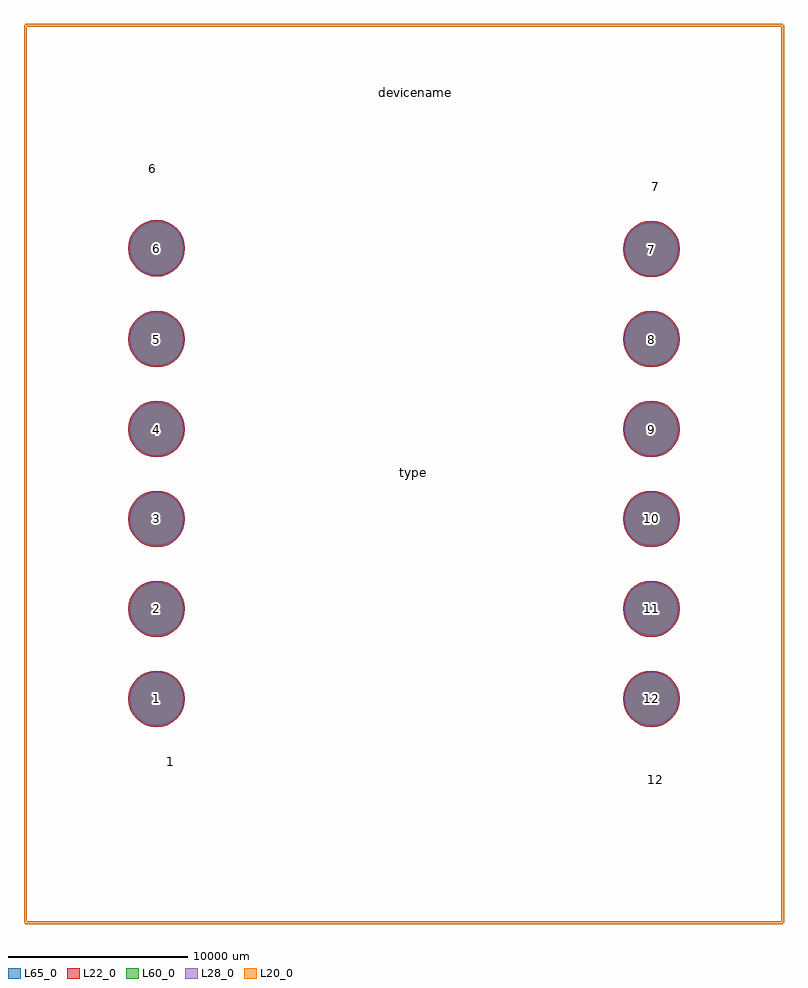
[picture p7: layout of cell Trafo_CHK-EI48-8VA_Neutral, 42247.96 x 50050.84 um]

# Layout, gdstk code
import gdstk
lib = gdstk.Library(unit=1e-6, precision=1e-09)
def P(c, l, *ps):  # polygons
    for p in ps: c.add(gdstk.Polygon(p, *l))
L20_0 = (20, 0)
L22_0 = (22, 0)
L28_0 = (28, 0)
L60_0 = (60, 0)
L65_0 = (65, 0)

trafo_chk_ei48_8va_neutr = lib.new_cell('Trafo_CHK-EI48-8VA_Neutral')
P(trafo_chk_ei48_8va_neutr, L22_0, [(15323.89,7500.62),(15293.629,7807.862),(15204.01,8103.297),(15058.477,8375.571),(14862.621,8614.221),(14623.971,8810.077),(14351.697,8955.61),(14056.262,9045.229),(13749.02,9075.49),(13441.778,9045.229),(13146.343,8955.61),(12874.069,8810.077),(12635.419,8614.221),(12439.563,8375.571),(12294.03,8103.297),(12204.411,7807.862),(12174.15,7500.62),(12204.411,7193.378),(12294.03,6897.943),(12439.563,6625.669),(12635.419,6387.019),(12874.069,6191.163),(13146.343,6045.63),(13441.778,5956.011),(13749.02,5925.75),(14056.262,5956.011),(14351.697,6045.63),(14623.971,6191.163),(14862.621,6387.019),(15058.477,6625.669),(15204.01,6897.943),(15293.629,7193.378)],
  [(15323.89,2499.36),(15293.629,2806.602),(15204.01,3102.037),(15058.477,3374.311),(14862.621,3612.961),(14623.971,3808.817),(14351.697,3954.35),(14056.262,4043.969),(13749.02,4074.23),(13441.778,4043.969),(13146.343,3954.35),(12874.069,3808.817),(12635.419,3612.961),(12439.563,3374.311),(12294.03,3102.037),(12204.411,2806.602),(12174.15,2499.36),(12204.411,2192.118),(12294.03,1896.683),(12439.563,1624.409),(12635.419,1385.759),(12874.069,1189.903),(13146.343,1044.37),(13441.778,954.751),(13749.02,924.49),(14056.262,954.751),(14351.697,1044.37),(14623.971,1189.903),(14862.621,1385.759),(15058.477,1624.409),(15204.01,1896.683),(15293.629,2192.118)],
  [(15323.89,-2499.36),(15293.629,-2192.118),(15204.01,-1896.683),(15058.477,-1624.409),(14862.621,-1385.759),(14623.971,-1189.903),(14351.697,-1044.37),(14056.262,-954.751),(13749.02,-924.49),(13441.778,-954.751),(13146.343,-1044.37),(12874.069,-1189.903),(12635.419,-1385.759),(12439.563,-1624.409),(12294.03,-1896.683),(12204.411,-2192.118),(12174.15,-2499.36),(12204.411,-2806.602),(12294.03,-3102.037),(12439.563,-3374.311),(12635.419,-3612.961),(12874.069,-3808.817),(13146.343,-3954.35),(13441.778,-4043.969),(13749.02,-4074.23),(14056.262,-4043.969),(14351.697,-3954.35),(14623.971,-3808.817),(14862.621,-3612.961),(15058.477,-3374.311),(15204.01,-3102.037),(15293.629,-2806.602)],
  [(15323.89,-7500.62),(15293.629,-7193.378),(15204.01,-6897.943),(15058.477,-6625.669),(14862.621,-6387.019),(14623.971,-6191.163),(14351.697,-6045.63),(14056.262,-5956.011),(13749.02,-5925.75),(13441.778,-5956.011),(13146.343,-6045.63),(12874.069,-6191.163),(12635.419,-6387.019),(12439.563,-6625.669),(12294.03,-6897.943),(12204.411,-7193.378),(12174.15,-7500.62),(12204.411,-7807.862),(12294.03,-8103.297),(12439.563,-8375.571),(12635.419,-8614.221),(12874.069,-8810.077),(13146.343,-8955.61),(13441.778,-9045.229),(13749.02,-9075.49),(14056.262,-9045.229),(14351.697,-8955.61),(14623.971,-8810.077),(14862.621,-8614.221),(15058.477,-8375.571),(15204.01,-8103.297),(15293.629,-7807.862)],
  [(-12174.15,7500.62),(-12204.411,7807.862),(-12294.03,8103.297),(-12439.563,8375.571),(-12635.419,8614.221),(-12874.069,8810.077),(-13146.343,8955.61),(-13441.778,9045.229),(-13749.02,9075.49),(-14056.262,9045.229),(-14351.697,8955.61),(-14623.971,8810.077),(-14862.621,8614.221),(-15058.477,8375.571),(-15204.01,8103.297),(-15293.629,7807.862),(-15323.89,7500.62),(-15293.629,7193.378),(-15204.01,6897.943),(-15058.477,6625.669),(-14862.621,6387.019),(-14623.971,6191.163),(-14351.697,6045.63),(-14056.262,5956.011),(-13749.02,5925.75),(-13441.778,5956.011),(-13146.343,6045.63),(-12874.069,6191.163),(-12635.419,6387.019),(-12439.563,6625.669),(-12294.03,6897.943),(-12204.411,7193.378)],
  [(-12174.15,2499.36),(-12204.411,2806.602),(-12294.03,3102.037),(-12439.563,3374.311),(-12635.419,3612.961),(-12874.069,3808.817),(-13146.343,3954.35),(-13441.778,4043.969),(-13749.02,4074.23),(-14056.262,4043.969),(-14351.697,3954.35),(-14623.971,3808.817),(-14862.621,3612.961),(-15058.477,3374.311),(-15204.01,3102.037),(-15293.629,2806.602),(-15323.89,2499.36),(-15293.629,2192.118),(-15204.01,1896.683),(-15058.477,1624.409),(-14862.621,1385.759),(-14623.971,1189.903),(-14351.697,1044.37),(-14056.262,954.751),(-13749.02,924.49),(-13441.778,954.751),(-13146.343,1044.37),(-12874.069,1189.903),(-12635.419,1385.759),(-12439.563,1624.409),(-12294.03,1896.683),(-12204.411,2192.118)],
  [(-12174.15,-2499.36),(-12204.411,-2192.118),(-12294.03,-1896.683),(-12439.563,-1624.409),(-12635.419,-1385.759),(-12874.069,-1189.903),(-13146.343,-1044.37),(-13441.778,-954.751),(-13749.02,-924.49),(-14056.262,-954.751),(-14351.697,-1044.37),(-14623.971,-1189.903),(-14862.621,-1385.759),(-15058.477,-1624.409),(-15204.01,-1896.683),(-15293.629,-2192.118),(-15323.89,-2499.36),(-15293.629,-2806.602),(-15204.01,-3102.037),(-15058.477,-3374.311),(-14862.621,-3612.961),(-14623.971,-3808.817),(-14351.697,-3954.35),(-14056.262,-4043.969),(-13749.02,-4074.23),(-13441.778,-4043.969),(-13146.343,-3954.35),(-12874.069,-3808.817),(-12635.419,-3612.961),(-12439.563,-3374.311),(-12294.03,-3102.037),(-12204.411,-2806.602)],
  [(-12174.15,-7500.62),(-12204.411,-7193.378),(-12294.03,-6897.943),(-12439.563,-6625.669),(-12635.419,-6387.019),(-12874.069,-6191.163),(-13146.343,-6045.63),(-13441.778,-5956.011),(-13749.02,-5925.75),(-14056.262,-5956.011),(-14351.697,-6045.63),(-14623.971,-6191.163),(-14862.621,-6387.019),(-15058.477,-6625.669),(-15204.01,-6897.943),(-15293.629,-7193.378),(-15323.89,-7500.62),(-15293.629,-7807.862),(-15204.01,-8103.297),(-15058.477,-8375.571),(-14862.621,-8614.221),(-14623.971,-8810.077),(-14351.697,-8955.61),(-14056.262,-9045.229),(-13749.02,-9075.49),(-13441.778,-9045.229),(-13146.343,-8955.61),(-12874.069,-8810.077),(-12635.419,-8614.221),(-12439.563,-8375.571),(-12294.03,-8103.297),(-12204.411,-7807.862)],
  [(15323.89,-12499.34),(15293.629,-12192.098),(15204.01,-11896.663),(15058.477,-11624.389),(14862.621,-11385.739),(14623.971,-11189.883),(14351.697,-11044.35),(14056.262,-10954.731),(13749.02,-10924.47),(13441.778,-10954.731),(13146.343,-11044.35),(12874.069,-11189.883),(12635.419,-11385.739),(12439.563,-11624.389),(12294.03,-11896.663),(12204.411,-12192.098),(12174.15,-12499.34),(12204.411,-12806.582),(12294.03,-13102.017),(12439.563,-13374.291),(12635.419,-13612.941),(12874.069,-13808.797),(13146.343,-13954.33),(13441.778,-14043.949),(13749.02,-14074.21),(14056.262,-14043.949),(14351.697,-13954.33),(14623.971,-13808.797),(14862.621,-13612.941),(15058.477,-13374.291),(15204.01,-13102.017),(15293.629,-12806.582)],
  [(15323.89,12499.34),(15293.629,12806.582),(15204.01,13102.017),(15058.477,13374.291),(14862.621,13612.941),(14623.971,13808.797),(14351.697,13954.33),(14056.262,14043.949),(13749.02,14074.21),(13441.778,14043.949),(13146.343,13954.33),(12874.069,13808.797),(12635.419,13612.941),(12439.563,13374.291),(12294.03,13102.017),(12204.411,12806.582),(12174.15,12499.34),(12204.411,12192.098),(12294.03,11896.663),(12439.563,11624.389),(12635.419,11385.739),(12874.069,11189.883),(13146.343,11044.35),(13441.778,10954.731),(13749.02,10924.47),(14056.262,10954.731),(14351.697,11044.35),(14623.971,11189.883),(14862.621,11385.739),(15058.477,11624.389),(15204.01,11896.663),(15293.629,12192.098)],
  [(-12174.15,12550.14),(-12204.411,12857.382),(-12294.03,13152.817),(-12439.563,13425.091),(-12635.419,13663.741),(-12874.069,13859.597),(-13146.343,14005.13),(-13441.778,14094.749),(-13749.02,14125.01),(-14056.262,14094.749),(-14351.697,14005.13),(-14623.971,13859.597),(-14862.621,13663.741),(-15058.477,13425.091),(-15204.01,13152.817),(-15293.629,12857.382),(-15323.89,12550.14),(-15293.629,12242.898),(-15204.01,11947.463),(-15058.477,11675.189),(-14862.621,11436.539),(-14623.971,11240.683),(-14351.697,11095.15),(-14056.262,11005.531),(-13749.02,10975.27),(-13441.778,11005.531),(-13146.343,11095.15),(-12874.069,11240.683),(-12635.419,11436.539),(-12439.563,11675.189),(-12294.03,11947.463),(-12204.411,12242.898)],
  [(-12174.15,-12499.34),(-12204.411,-12192.098),(-12294.03,-11896.663),(-12439.563,-11624.389),(-12635.419,-11385.739),(-12874.069,-11189.883),(-13146.343,-11044.35),(-13441.778,-10954.731),(-13749.02,-10924.47),(-14056.262,-10954.731),(-14351.697,-11044.35),(-14623.971,-11189.883),(-14862.621,-11385.739),(-15058.477,-11624.389),(-15204.01,-11896.663),(-15293.629,-12192.098),(-15323.89,-12499.34),(-15293.629,-12806.582),(-15204.01,-13102.017),(-15058.477,-13374.291),(-14862.621,-13612.941),(-14623.971,-13808.797),(-14351.697,-13954.33),(-14056.262,-14043.949),(-13749.02,-14074.21),(-13441.778,-14043.949),(-13146.343,-13954.33),(-12874.069,-13808.797),(-12635.419,-13612.941),(-12439.563,-13374.291),(-12294.03,-13102.017),(-12204.411,-12806.582)])
P(trafo_chk_ei48_8va_neutr, L28_0, [(15248.89,7500.62),(15220.07,7793.23),(15134.719,8074.595),(14996.116,8333.903),(14809.588,8561.188),(14582.303,8747.716),(14322.995,8886.319),(14041.63,8971.67),(13749.02,9000.49),(13456.41,8971.67),(13175.045,8886.319),(12915.737,8747.716),(12688.452,8561.188),(12501.924,8333.903),(12363.321,8074.595),(12277.97,7793.23),(12249.15,7500.62),(12277.97,7208.01),(12363.321,6926.645),(12501.924,6667.337),(12688.452,6440.052),(12915.737,6253.524),(13175.045,6114.921),(13456.41,6029.57),(13749.02,6000.75),(14041.63,6029.57),(14322.995,6114.921),(14582.303,6253.524),(14809.588,6440.052),(14996.116,6667.337),(15134.719,6926.645),(15220.07,7208.01)],
  [(15248.89,2499.36),(15220.07,2791.97),(15134.719,3073.335),(14996.116,3332.643),(14809.588,3559.928),(14582.303,3746.456),(14322.995,3885.059),(14041.63,3970.41),(13749.02,3999.23),(13456.41,3970.41),(13175.045,3885.059),(12915.737,3746.456),(12688.452,3559.928),(12501.924,3332.643),(12363.321,3073.335),(12277.97,2791.97),(12249.15,2499.36),(12277.97,2206.75),(12363.321,1925.385),(12501.924,1666.077),(12688.452,1438.792),(12915.737,1252.264),(13175.045,1113.661),(13456.41,1028.31),(13749.02,999.49),(14041.63,1028.31),(14322.995,1113.661),(14582.303,1252.264),(14809.588,1438.792),(14996.116,1666.077),(15134.719,1925.385),(15220.07,2206.75)],
  [(15248.89,-2499.36),(15220.07,-2206.75),(15134.719,-1925.385),(14996.116,-1666.077),(14809.588,-1438.792),(14582.303,-1252.264),(14322.995,-1113.661),(14041.63,-1028.31),(13749.02,-999.49),(13456.41,-1028.31),(13175.045,-1113.661),(12915.737,-1252.264),(12688.452,-1438.792),(12501.924,-1666.077),(12363.321,-1925.385),(12277.97,-2206.75),(12249.15,-2499.36),(12277.97,-2791.97),(12363.321,-3073.335),(12501.924,-3332.643),(12688.452,-3559.928),(12915.737,-3746.456),(13175.045,-3885.059),(13456.41,-3970.41),(13749.02,-3999.23),(14041.63,-3970.41),(14322.995,-3885.059),(14582.303,-3746.456),(14809.588,-3559.928),(14996.116,-3332.643),(15134.719,-3073.335),(15220.07,-2791.97)],
  [(15248.89,-7500.62),(15220.07,-7208.01),(15134.719,-6926.645),(14996.116,-6667.337),(14809.588,-6440.052),(14582.303,-6253.524),(14322.995,-6114.921),(14041.63,-6029.57),(13749.02,-6000.75),(13456.41,-6029.57),(13175.045,-6114.921),(12915.737,-6253.524),(12688.452,-6440.052),(12501.924,-6667.337),(12363.321,-6926.645),(12277.97,-7208.01),(12249.15,-7500.62),(12277.97,-7793.23),(12363.321,-8074.595),(12501.924,-8333.903),(12688.452,-8561.188),(12915.737,-8747.716),(13175.045,-8886.319),(13456.41,-8971.67),(13749.02,-9000.49),(14041.63,-8971.67),(14322.995,-8886.319),(14582.303,-8747.716),(14809.588,-8561.188),(14996.116,-8333.903),(15134.719,-8074.595),(15220.07,-7793.23)],
  [(-12249.15,7500.62),(-12277.97,7793.23),(-12363.321,8074.595),(-12501.924,8333.903),(-12688.452,8561.188),(-12915.737,8747.716),(-13175.045,8886.319),(-13456.41,8971.67),(-13749.02,9000.49),(-14041.63,8971.67),(-14322.995,8886.319),(-14582.303,8747.716),(-14809.588,8561.188),(-14996.116,8333.903),(-15134.719,8074.595),(-15220.07,7793.23),(-15248.89,7500.62),(-15220.07,7208.01),(-15134.719,6926.645),(-14996.116,6667.337),(-14809.588,6440.052),(-14582.303,6253.524),(-14322.995,6114.921),(-14041.63,6029.57),(-13749.02,6000.75),(-13456.41,6029.57),(-13175.045,6114.921),(-12915.737,6253.524),(-12688.452,6440.052),(-12501.924,6667.337),(-12363.321,6926.645),(-12277.97,7208.01)],
  [(-12249.15,2499.36),(-12277.97,2791.97),(-12363.321,3073.335),(-12501.924,3332.643),(-12688.452,3559.928),(-12915.737,3746.456),(-13175.045,3885.059),(-13456.41,3970.41),(-13749.02,3999.23),(-14041.63,3970.41),(-14322.995,3885.059),(-14582.303,3746.456),(-14809.588,3559.928),(-14996.116,3332.643),(-15134.719,3073.335),(-15220.07,2791.97),(-15248.89,2499.36),(-15220.07,2206.75),(-15134.719,1925.385),(-14996.116,1666.077),(-14809.588,1438.792),(-14582.303,1252.264),(-14322.995,1113.661),(-14041.63,1028.31),(-13749.02,999.49),(-13456.41,1028.31),(-13175.045,1113.661),(-12915.737,1252.264),(-12688.452,1438.792),(-12501.924,1666.077),(-12363.321,1925.385),(-12277.97,2206.75)],
  [(-12249.15,-2499.36),(-12277.97,-2206.75),(-12363.321,-1925.385),(-12501.924,-1666.077),(-12688.452,-1438.792),(-12915.737,-1252.264),(-13175.045,-1113.661),(-13456.41,-1028.31),(-13749.02,-999.49),(-14041.63,-1028.31),(-14322.995,-1113.661),(-14582.303,-1252.264),(-14809.588,-1438.792),(-14996.116,-1666.077),(-15134.719,-1925.385),(-15220.07,-2206.75),(-15248.89,-2499.36),(-15220.07,-2791.97),(-15134.719,-3073.335),(-14996.116,-3332.643),(-14809.588,-3559.928),(-14582.303,-3746.456),(-14322.995,-3885.059),(-14041.63,-3970.41),(-13749.02,-3999.23),(-13456.41,-3970.41),(-13175.045,-3885.059),(-12915.737,-3746.456),(-12688.452,-3559.928),(-12501.924,-3332.643),(-12363.321,-3073.335),(-12277.97,-2791.97)],
  [(-12249.15,-7500.62),(-12277.97,-7208.01),(-12363.321,-6926.645),(-12501.924,-6667.337),(-12688.452,-6440.052),(-12915.737,-6253.524),(-13175.045,-6114.921),(-13456.41,-6029.57),(-13749.02,-6000.75),(-14041.63,-6029.57),(-14322.995,-6114.921),(-14582.303,-6253.524),(-14809.588,-6440.052),(-14996.116,-6667.337),(-15134.719,-6926.645),(-15220.07,-7208.01),(-15248.89,-7500.62),(-15220.07,-7793.23),(-15134.719,-8074.595),(-14996.116,-8333.903),(-14809.588,-8561.188),(-14582.303,-8747.716),(-14322.995,-8886.319),(-14041.63,-8971.67),(-13749.02,-9000.49),(-13456.41,-8971.67),(-13175.045,-8886.319),(-12915.737,-8747.716),(-12688.452,-8561.188),(-12501.924,-8333.903),(-12363.321,-8074.595),(-12277.97,-7793.23)],
  [(15248.89,-12499.34),(15220.07,-12206.73),(15134.719,-11925.365),(14996.116,-11666.057),(14809.588,-11438.772),(14582.303,-11252.244),(14322.995,-11113.641),(14041.63,-11028.29),(13749.02,-10999.47),(13456.41,-11028.29),(13175.045,-11113.641),(12915.737,-11252.244),(12688.452,-11438.772),(12501.924,-11666.057),(12363.321,-11925.365),(12277.97,-12206.73),(12249.15,-12499.34),(12277.97,-12791.95),(12363.321,-13073.315),(12501.924,-13332.623),(12688.452,-13559.908),(12915.737,-13746.436),(13175.045,-13885.039),(13456.41,-13970.39),(13749.02,-13999.21),(14041.63,-13970.39),(14322.995,-13885.039),(14582.303,-13746.436),(14809.588,-13559.908),(14996.116,-13332.623),(15134.719,-13073.315),(15220.07,-12791.95)],
  [(15248.89,12499.34),(15220.07,12791.95),(15134.719,13073.315),(14996.116,13332.623),(14809.588,13559.908),(14582.303,13746.436),(14322.995,13885.039),(14041.63,13970.39),(13749.02,13999.21),(13456.41,13970.39),(13175.045,13885.039),(12915.737,13746.436),(12688.452,13559.908),(12501.924,13332.623),(12363.321,13073.315),(12277.97,12791.95),(12249.15,12499.34),(12277.97,12206.73),(12363.321,11925.365),(12501.924,11666.057),(12688.452,11438.772),(12915.737,11252.244),(13175.045,11113.641),(13456.41,11028.29),(13749.02,10999.47),(14041.63,11028.29),(14322.995,11113.641),(14582.303,11252.244),(14809.588,11438.772),(14996.116,11666.057),(15134.719,11925.365),(15220.07,12206.73)],
  [(-12249.15,12550.14),(-12277.97,12842.75),(-12363.321,13124.115),(-12501.924,13383.423),(-12688.452,13610.708),(-12915.737,13797.236),(-13175.045,13935.839),(-13456.41,14021.19),(-13749.02,14050.01),(-14041.63,14021.19),(-14322.995,13935.839),(-14582.303,13797.236),(-14809.588,13610.708),(-14996.116,13383.423),(-15134.719,13124.115),(-15220.07,12842.75),(-15248.89,12550.14),(-15220.07,12257.53),(-15134.719,11976.165),(-14996.116,11716.857),(-14809.588,11489.572),(-14582.303,11303.044),(-14322.995,11164.441),(-14041.63,11079.09),(-13749.02,11050.27),(-13456.41,11079.09),(-13175.045,11164.441),(-12915.737,11303.044),(-12688.452,11489.572),(-12501.924,11716.857),(-12363.321,11976.165),(-12277.97,12257.53)],
  [(-12249.15,-12499.34),(-12277.97,-12206.73),(-12363.321,-11925.365),(-12501.924,-11666.057),(-12688.452,-11438.772),(-12915.737,-11252.244),(-13175.045,-11113.641),(-13456.41,-11028.29),(-13749.02,-10999.47),(-14041.63,-11028.29),(-14322.995,-11113.641),(-14582.303,-11252.244),(-14809.588,-11438.772),(-14996.116,-11666.057),(-15134.719,-11925.365),(-15220.07,-12206.73),(-15248.89,-12499.34),(-15220.07,-12791.95),(-15134.719,-13073.315),(-14996.116,-13332.623),(-14809.588,-13559.908),(-14582.303,-13746.436),(-14322.995,-13885.039),(-14041.63,-13970.39),(-13749.02,-13999.21),(-13456.41,-13970.39),(-13175.045,-13885.039),(-12915.737,-13746.436),(-12688.452,-13559.908),(-12501.924,-13332.623),(-12363.321,-13073.315),(-12277.97,-12791.95)])
P(trafo_chk_ei48_8va_neutr, L60_0, [(15248.89,7500.62),(15220.07,7793.23),(15134.719,8074.595),(14996.116,8333.903),(14809.588,8561.188),(14582.303,8747.716),(14322.995,8886.319),(14041.63,8971.67),(13749.02,9000.49),(13456.41,8971.67),(13175.045,8886.319),(12915.737,8747.716),(12688.452,8561.188),(12501.924,8333.903),(12363.321,8074.595),(12277.97,7793.23),(12249.15,7500.62),(12277.97,7208.01),(12363.321,6926.645),(12501.924,6667.337),(12688.452,6440.052),(12915.737,6253.524),(13175.045,6114.921),(13456.41,6029.57),(13749.02,6000.75),(14041.63,6029.57),(14322.995,6114.921),(14582.303,6253.524),(14809.588,6440.052),(14996.116,6667.337),(15134.719,6926.645),(15220.07,7208.01)],
  [(15248.89,2499.36),(15220.07,2791.97),(15134.719,3073.335),(14996.116,3332.643),(14809.588,3559.928),(14582.303,3746.456),(14322.995,3885.059),(14041.63,3970.41),(13749.02,3999.23),(13456.41,3970.41),(13175.045,3885.059),(12915.737,3746.456),(12688.452,3559.928),(12501.924,3332.643),(12363.321,3073.335),(12277.97,2791.97),(12249.15,2499.36),(12277.97,2206.75),(12363.321,1925.385),(12501.924,1666.077),(12688.452,1438.792),(12915.737,1252.264),(13175.045,1113.661),(13456.41,1028.31),(13749.02,999.49),(14041.63,1028.31),(14322.995,1113.661),(14582.303,1252.264),(14809.588,1438.792),(14996.116,1666.077),(15134.719,1925.385),(15220.07,2206.75)],
  [(15248.89,-2499.36),(15220.07,-2206.75),(15134.719,-1925.385),(14996.116,-1666.077),(14809.588,-1438.792),(14582.303,-1252.264),(14322.995,-1113.661),(14041.63,-1028.31),(13749.02,-999.49),(13456.41,-1028.31),(13175.045,-1113.661),(12915.737,-1252.264),(12688.452,-1438.792),(12501.924,-1666.077),(12363.321,-1925.385),(12277.97,-2206.75),(12249.15,-2499.36),(12277.97,-2791.97),(12363.321,-3073.335),(12501.924,-3332.643),(12688.452,-3559.928),(12915.737,-3746.456),(13175.045,-3885.059),(13456.41,-3970.41),(13749.02,-3999.23),(14041.63,-3970.41),(14322.995,-3885.059),(14582.303,-3746.456),(14809.588,-3559.928),(14996.116,-3332.643),(15134.719,-3073.335),(15220.07,-2791.97)],
  [(15248.89,-7500.62),(15220.07,-7208.01),(15134.719,-6926.645),(14996.116,-6667.337),(14809.588,-6440.052),(14582.303,-6253.524),(14322.995,-6114.921),(14041.63,-6029.57),(13749.02,-6000.75),(13456.41,-6029.57),(13175.045,-6114.921),(12915.737,-6253.524),(12688.452,-6440.052),(12501.924,-6667.337),(12363.321,-6926.645),(12277.97,-7208.01),(12249.15,-7500.62),(12277.97,-7793.23),(12363.321,-8074.595),(12501.924,-8333.903),(12688.452,-8561.188),(12915.737,-8747.716),(13175.045,-8886.319),(13456.41,-8971.67),(13749.02,-9000.49),(14041.63,-8971.67),(14322.995,-8886.319),(14582.303,-8747.716),(14809.588,-8561.188),(14996.116,-8333.903),(15134.719,-8074.595),(15220.07,-7793.23)],
  [(-12249.15,7500.62),(-12277.97,7793.23),(-12363.321,8074.595),(-12501.924,8333.903),(-12688.452,8561.188),(-12915.737,8747.716),(-13175.045,8886.319),(-13456.41,8971.67),(-13749.02,9000.49),(-14041.63,8971.67),(-14322.995,8886.319),(-14582.303,8747.716),(-14809.588,8561.188),(-14996.116,8333.903),(-15134.719,8074.595),(-15220.07,7793.23),(-15248.89,7500.62),(-15220.07,7208.01),(-15134.719,6926.645),(-14996.116,6667.337),(-14809.588,6440.052),(-14582.303,6253.524),(-14322.995,6114.921),(-14041.63,6029.57),(-13749.02,6000.75),(-13456.41,6029.57),(-13175.045,6114.921),(-12915.737,6253.524),(-12688.452,6440.052),(-12501.924,6667.337),(-12363.321,6926.645),(-12277.97,7208.01)],
  [(-12249.15,2499.36),(-12277.97,2791.97),(-12363.321,3073.335),(-12501.924,3332.643),(-12688.452,3559.928),(-12915.737,3746.456),(-13175.045,3885.059),(-13456.41,3970.41),(-13749.02,3999.23),(-14041.63,3970.41),(-14322.995,3885.059),(-14582.303,3746.456),(-14809.588,3559.928),(-14996.116,3332.643),(-15134.719,3073.335),(-15220.07,2791.97),(-15248.89,2499.36),(-15220.07,2206.75),(-15134.719,1925.385),(-14996.116,1666.077),(-14809.588,1438.792),(-14582.303,1252.264),(-14322.995,1113.661),(-14041.63,1028.31),(-13749.02,999.49),(-13456.41,1028.31),(-13175.045,1113.661),(-12915.737,1252.264),(-12688.452,1438.792),(-12501.924,1666.077),(-12363.321,1925.385),(-12277.97,2206.75)],
  [(-12249.15,-2499.36),(-12277.97,-2206.75),(-12363.321,-1925.385),(-12501.924,-1666.077),(-12688.452,-1438.792),(-12915.737,-1252.264),(-13175.045,-1113.661),(-13456.41,-1028.31),(-13749.02,-999.49),(-14041.63,-1028.31),(-14322.995,-1113.661),(-14582.303,-1252.264),(-14809.588,-1438.792),(-14996.116,-1666.077),(-15134.719,-1925.385),(-15220.07,-2206.75),(-15248.89,-2499.36),(-15220.07,-2791.97),(-15134.719,-3073.335),(-14996.116,-3332.643),(-14809.588,-3559.928),(-14582.303,-3746.456),(-14322.995,-3885.059),(-14041.63,-3970.41),(-13749.02,-3999.23),(-13456.41,-3970.41),(-13175.045,-3885.059),(-12915.737,-3746.456),(-12688.452,-3559.928),(-12501.924,-3332.643),(-12363.321,-3073.335),(-12277.97,-2791.97)],
  [(-12249.15,-7500.62),(-12277.97,-7208.01),(-12363.321,-6926.645),(-12501.924,-6667.337),(-12688.452,-6440.052),(-12915.737,-6253.524),(-13175.045,-6114.921),(-13456.41,-6029.57),(-13749.02,-6000.75),(-14041.63,-6029.57),(-14322.995,-6114.921),(-14582.303,-6253.524),(-14809.588,-6440.052),(-14996.116,-6667.337),(-15134.719,-6926.645),(-15220.07,-7208.01),(-15248.89,-7500.62),(-15220.07,-7793.23),(-15134.719,-8074.595),(-14996.116,-8333.903),(-14809.588,-8561.188),(-14582.303,-8747.716),(-14322.995,-8886.319),(-14041.63,-8971.67),(-13749.02,-9000.49),(-13456.41,-8971.67),(-13175.045,-8886.319),(-12915.737,-8747.716),(-12688.452,-8561.188),(-12501.924,-8333.903),(-12363.321,-8074.595),(-12277.97,-7793.23)],
  [(15248.89,-12499.34),(15220.07,-12206.73),(15134.719,-11925.365),(14996.116,-11666.057),(14809.588,-11438.772),(14582.303,-11252.244),(14322.995,-11113.641),(14041.63,-11028.29),(13749.02,-10999.47),(13456.41,-11028.29),(13175.045,-11113.641),(12915.737,-11252.244),(12688.452,-11438.772),(12501.924,-11666.057),(12363.321,-11925.365),(12277.97,-12206.73),(12249.15,-12499.34),(12277.97,-12791.95),(12363.321,-13073.315),(12501.924,-13332.623),(12688.452,-13559.908),(12915.737,-13746.436),(13175.045,-13885.039),(13456.41,-13970.39),(13749.02,-13999.21),(14041.63,-13970.39),(14322.995,-13885.039),(14582.303,-13746.436),(14809.588,-13559.908),(14996.116,-13332.623),(15134.719,-13073.315),(15220.07,-12791.95)],
  [(15248.89,12499.34),(15220.07,12791.95),(15134.719,13073.315),(14996.116,13332.623),(14809.588,13559.908),(14582.303,13746.436),(14322.995,13885.039),(14041.63,13970.39),(13749.02,13999.21),(13456.41,13970.39),(13175.045,13885.039),(12915.737,13746.436),(12688.452,13559.908),(12501.924,13332.623),(12363.321,13073.315),(12277.97,12791.95),(12249.15,12499.34),(12277.97,12206.73),(12363.321,11925.365),(12501.924,11666.057),(12688.452,11438.772),(12915.737,11252.244),(13175.045,11113.641),(13456.41,11028.29),(13749.02,10999.47),(14041.63,11028.29),(14322.995,11113.641),(14582.303,11252.244),(14809.588,11438.772),(14996.116,11666.057),(15134.719,11925.365),(15220.07,12206.73)],
  [(-12249.15,12550.14),(-12277.97,12842.75),(-12363.321,13124.115),(-12501.924,13383.423),(-12688.452,13610.708),(-12915.737,13797.236),(-13175.045,13935.839),(-13456.41,14021.19),(-13749.02,14050.01),(-14041.63,14021.19),(-14322.995,13935.839),(-14582.303,13797.236),(-14809.588,13610.708),(-14996.116,13383.423),(-15134.719,13124.115),(-15220.07,12842.75),(-15248.89,12550.14),(-15220.07,12257.53),(-15134.719,11976.165),(-14996.116,11716.857),(-14809.588,11489.572),(-14582.303,11303.044),(-14322.995,11164.441),(-14041.63,11079.09),(-13749.02,11050.27),(-13456.41,11079.09),(-13175.045,11164.441),(-12915.737,11303.044),(-12688.452,11489.572),(-12501.924,11716.857),(-12363.321,11976.165),(-12277.97,12257.53)],
  [(-12249.15,-12499.34),(-12277.97,-12206.73),(-12363.321,-11925.365),(-12501.924,-11666.057),(-12688.452,-11438.772),(-12915.737,-11252.244),(-13175.045,-11113.641),(-13456.41,-11028.29),(-13749.02,-10999.47),(-14041.63,-11028.29),(-14322.995,-11113.641),(-14582.303,-11252.244),(-14809.588,-11438.772),(-14996.116,-11666.057),(-15134.719,-11925.365),(-15220.07,-12206.73),(-15248.89,-12499.34),(-15220.07,-12791.95),(-15134.719,-13073.315),(-14996.116,-13332.623),(-14809.588,-13559.908),(-14582.303,-13746.436),(-14322.995,-13885.039),(-14041.63,-13970.39),(-13749.02,-13999.21),(-13456.41,-13970.39),(-13175.045,-13885.039),(-12915.737,-13746.436),(-12688.452,-13559.908),(-12501.924,-13332.623),(-12363.321,-13073.315),(-12277.97,-12791.95)])
P(trafo_chk_ei48_8va_neutr, L65_0, [(15323.89,7500.62),(15293.629,7807.862),(15204.01,8103.297),(15058.477,8375.571),(14862.621,8614.221),(14623.971,8810.077),(14351.697,8955.61),(14056.262,9045.229),(13749.02,9075.49),(13441.778,9045.229),(13146.343,8955.61),(12874.069,8810.077),(12635.419,8614.221),(12439.563,8375.571),(12294.03,8103.297),(12204.411,7807.862),(12174.15,7500.62),(12204.411,7193.378),(12294.03,6897.943),(12439.563,6625.669),(12635.419,6387.019),(12874.069,6191.163),(13146.343,6045.63),(13441.778,5956.011),(13749.02,5925.75),(14056.262,5956.011),(14351.697,6045.63),(14623.971,6191.163),(14862.621,6387.019),(15058.477,6625.669),(15204.01,6897.943),(15293.629,7193.378)],
  [(15323.89,2499.36),(15293.629,2806.602),(15204.01,3102.037),(15058.477,3374.311),(14862.621,3612.961),(14623.971,3808.817),(14351.697,3954.35),(14056.262,4043.969),(13749.02,4074.23),(13441.778,4043.969),(13146.343,3954.35),(12874.069,3808.817),(12635.419,3612.961),(12439.563,3374.311),(12294.03,3102.037),(12204.411,2806.602),(12174.15,2499.36),(12204.411,2192.118),(12294.03,1896.683),(12439.563,1624.409),(12635.419,1385.759),(12874.069,1189.903),(13146.343,1044.37),(13441.778,954.751),(13749.02,924.49),(14056.262,954.751),(14351.697,1044.37),(14623.971,1189.903),(14862.621,1385.759),(15058.477,1624.409),(15204.01,1896.683),(15293.629,2192.118)],
  [(15323.89,-2499.36),(15293.629,-2192.118),(15204.01,-1896.683),(15058.477,-1624.409),(14862.621,-1385.759),(14623.971,-1189.903),(14351.697,-1044.37),(14056.262,-954.751),(13749.02,-924.49),(13441.778,-954.751),(13146.343,-1044.37),(12874.069,-1189.903),(12635.419,-1385.759),(12439.563,-1624.409),(12294.03,-1896.683),(12204.411,-2192.118),(12174.15,-2499.36),(12204.411,-2806.602),(12294.03,-3102.037),(12439.563,-3374.311),(12635.419,-3612.961),(12874.069,-3808.817),(13146.343,-3954.35),(13441.778,-4043.969),(13749.02,-4074.23),(14056.262,-4043.969),(14351.697,-3954.35),(14623.971,-3808.817),(14862.621,-3612.961),(15058.477,-3374.311),(15204.01,-3102.037),(15293.629,-2806.602)],
  [(15323.89,-7500.62),(15293.629,-7193.378),(15204.01,-6897.943),(15058.477,-6625.669),(14862.621,-6387.019),(14623.971,-6191.163),(14351.697,-6045.63),(14056.262,-5956.011),(13749.02,-5925.75),(13441.778,-5956.011),(13146.343,-6045.63),(12874.069,-6191.163),(12635.419,-6387.019),(12439.563,-6625.669),(12294.03,-6897.943),(12204.411,-7193.378),(12174.15,-7500.62),(12204.411,-7807.862),(12294.03,-8103.297),(12439.563,-8375.571),(12635.419,-8614.221),(12874.069,-8810.077),(13146.343,-8955.61),(13441.778,-9045.229),(13749.02,-9075.49),(14056.262,-9045.229),(14351.697,-8955.61),(14623.971,-8810.077),(14862.621,-8614.221),(15058.477,-8375.571),(15204.01,-8103.297),(15293.629,-7807.862)],
  [(-12174.15,7500.62),(-12204.411,7807.862),(-12294.03,8103.297),(-12439.563,8375.571),(-12635.419,8614.221),(-12874.069,8810.077),(-13146.343,8955.61),(-13441.778,9045.229),(-13749.02,9075.49),(-14056.262,9045.229),(-14351.697,8955.61),(-14623.971,8810.077),(-14862.621,8614.221),(-15058.477,8375.571),(-15204.01,8103.297),(-15293.629,7807.862),(-15323.89,7500.62),(-15293.629,7193.378),(-15204.01,6897.943),(-15058.477,6625.669),(-14862.621,6387.019),(-14623.971,6191.163),(-14351.697,6045.63),(-14056.262,5956.011),(-13749.02,5925.75),(-13441.778,5956.011),(-13146.343,6045.63),(-12874.069,6191.163),(-12635.419,6387.019),(-12439.563,6625.669),(-12294.03,6897.943),(-12204.411,7193.378)],
  [(-12174.15,2499.36),(-12204.411,2806.602),(-12294.03,3102.037),(-12439.563,3374.311),(-12635.419,3612.961),(-12874.069,3808.817),(-13146.343,3954.35),(-13441.778,4043.969),(-13749.02,4074.23),(-14056.262,4043.969),(-14351.697,3954.35),(-14623.971,3808.817),(-14862.621,3612.961),(-15058.477,3374.311),(-15204.01,3102.037),(-15293.629,2806.602),(-15323.89,2499.36),(-15293.629,2192.118),(-15204.01,1896.683),(-15058.477,1624.409),(-14862.621,1385.759),(-14623.971,1189.903),(-14351.697,1044.37),(-14056.262,954.751),(-13749.02,924.49),(-13441.778,954.751),(-13146.343,1044.37),(-12874.069,1189.903),(-12635.419,1385.759),(-12439.563,1624.409),(-12294.03,1896.683),(-12204.411,2192.118)],
  [(-12174.15,-2499.36),(-12204.411,-2192.118),(-12294.03,-1896.683),(-12439.563,-1624.409),(-12635.419,-1385.759),(-12874.069,-1189.903),(-13146.343,-1044.37),(-13441.778,-954.751),(-13749.02,-924.49),(-14056.262,-954.751),(-14351.697,-1044.37),(-14623.971,-1189.903),(-14862.621,-1385.759),(-15058.477,-1624.409),(-15204.01,-1896.683),(-15293.629,-2192.118),(-15323.89,-2499.36),(-15293.629,-2806.602),(-15204.01,-3102.037),(-15058.477,-3374.311),(-14862.621,-3612.961),(-14623.971,-3808.817),(-14351.697,-3954.35),(-14056.262,-4043.969),(-13749.02,-4074.23),(-13441.778,-4043.969),(-13146.343,-3954.35),(-12874.069,-3808.817),(-12635.419,-3612.961),(-12439.563,-3374.311),(-12294.03,-3102.037),(-12204.411,-2806.602)],
  [(-12174.15,-7500.62),(-12204.411,-7193.378),(-12294.03,-6897.943),(-12439.563,-6625.669),(-12635.419,-6387.019),(-12874.069,-6191.163),(-13146.343,-6045.63),(-13441.778,-5956.011),(-13749.02,-5925.75),(-14056.262,-5956.011),(-14351.697,-6045.63),(-14623.971,-6191.163),(-14862.621,-6387.019),(-15058.477,-6625.669),(-15204.01,-6897.943),(-15293.629,-7193.378),(-15323.89,-7500.62),(-15293.629,-7807.862),(-15204.01,-8103.297),(-15058.477,-8375.571),(-14862.621,-8614.221),(-14623.971,-8810.077),(-14351.697,-8955.61),(-14056.262,-9045.229),(-13749.02,-9075.49),(-13441.778,-9045.229),(-13146.343,-8955.61),(-12874.069,-8810.077),(-12635.419,-8614.221),(-12439.563,-8375.571),(-12294.03,-8103.297),(-12204.411,-7807.862)],
  [(15323.89,-12499.34),(15293.629,-12192.098),(15204.01,-11896.663),(15058.477,-11624.389),(14862.621,-11385.739),(14623.971,-11189.883),(14351.697,-11044.35),(14056.262,-10954.731),(13749.02,-10924.47),(13441.778,-10954.731),(13146.343,-11044.35),(12874.069,-11189.883),(12635.419,-11385.739),(12439.563,-11624.389),(12294.03,-11896.663),(12204.411,-12192.098),(12174.15,-12499.34),(12204.411,-12806.582),(12294.03,-13102.017),(12439.563,-13374.291),(12635.419,-13612.941),(12874.069,-13808.797),(13146.343,-13954.33),(13441.778,-14043.949),(13749.02,-14074.21),(14056.262,-14043.949),(14351.697,-13954.33),(14623.971,-13808.797),(14862.621,-13612.941),(15058.477,-13374.291),(15204.01,-13102.017),(15293.629,-12806.582)],
  [(15323.89,12499.34),(15293.629,12806.582),(15204.01,13102.017),(15058.477,13374.291),(14862.621,13612.941),(14623.971,13808.797),(14351.697,13954.33),(14056.262,14043.949),(13749.02,14074.21),(13441.778,14043.949),(13146.343,13954.33),(12874.069,13808.797),(12635.419,13612.941),(12439.563,13374.291),(12294.03,13102.017),(12204.411,12806.582),(12174.15,12499.34),(12204.411,12192.098),(12294.03,11896.663),(12439.563,11624.389),(12635.419,11385.739),(12874.069,11189.883),(13146.343,11044.35),(13441.778,10954.731),(13749.02,10924.47),(14056.262,10954.731),(14351.697,11044.35),(14623.971,11189.883),(14862.621,11385.739),(15058.477,11624.389),(15204.01,11896.663),(15293.629,12192.098)],
  [(-12174.15,12550.14),(-12204.411,12857.382),(-12294.03,13152.817),(-12439.563,13425.091),(-12635.419,13663.741),(-12874.069,13859.597),(-13146.343,14005.13),(-13441.778,14094.749),(-13749.02,14125.01),(-14056.262,14094.749),(-14351.697,14005.13),(-14623.971,13859.597),(-14862.621,13663.741),(-15058.477,13425.091),(-15204.01,13152.817),(-15293.629,12857.382),(-15323.89,12550.14),(-15293.629,12242.898),(-15204.01,11947.463),(-15058.477,11675.189),(-14862.621,11436.539),(-14623.971,11240.683),(-14351.697,11095.15),(-14056.262,11005.531),(-13749.02,10975.27),(-13441.778,11005.531),(-13146.343,11095.15),(-12874.069,11240.683),(-12635.419,11436.539),(-12439.563,11675.189),(-12294.03,11947.463),(-12204.411,12242.898)],
  [(-12174.15,-12499.34),(-12204.411,-12192.098),(-12294.03,-11896.663),(-12439.563,-11624.389),(-12635.419,-11385.739),(-12874.069,-11189.883),(-13146.343,-11044.35),(-13441.778,-10954.731),(-13749.02,-10924.47),(-14056.262,-10954.731),(-14351.697,-11044.35),(-14623.971,-11189.883),(-14862.621,-11385.739),(-15058.477,-11624.389),(-15204.01,-11896.663),(-15293.629,-12192.098),(-15323.89,-12499.34),(-15293.629,-12806.582),(-15204.01,-13102.017),(-15058.477,-13374.291),(-14862.621,-13612.941),(-14623.971,-13808.797),(-14351.697,-13954.33),(-14056.262,-14043.949),(-13749.02,-14074.21),(-13441.778,-14043.949),(-13146.343,-13954.33),(-12874.069,-13808.797),(-12635.419,-13612.941),(-12439.563,-13374.291),(-12294.03,-13102.017),(-12204.411,-12806.582)])
trafo_chk_ei48_8va_neutr.add(gdstk.FlexPath([(21048.98,-24950.42),(-21048.98,-24950.42)], 149.998, ends="flush", simple_path=True, layer=20, datatype=0))  # L20_0
trafo_chk_ei48_8va_neutr.add(gdstk.FlexPath([(21048.98,24950.42),(21048.98,-24950.42)], 149.998, ends="flush", simple_path=True, layer=20, datatype=0))  # L20_0
trafo_chk_ei48_8va_neutr.add(gdstk.FlexPath([(-21048.98,24950.42),(21048.98,24950.42)], 149.998, ends="flush", simple_path=True, layer=20, datatype=0))  # L20_0
trafo_chk_ei48_8va_neutr.add(gdstk.FlexPath([(-21048.98,-24950.42),(-21048.98,24950.42)], 149.998, ends="flush", simple_path=True, layer=20, datatype=0))  # L20_0
trafo_chk_ei48_8va_neutr.add(gdstk.Label('8', (13749.02,7500.62), layer=28, texttype=0))
trafo_chk_ei48_8va_neutr.add(gdstk.Label('9', (13749.02,2499.36), layer=28, texttype=0))
trafo_chk_ei48_8va_neutr.add(gdstk.Label('10', (13749.02,-2499.36), layer=28, texttype=0))
trafo_chk_ei48_8va_neutr.add(gdstk.Label('11', (13749.02,-7500.62), layer=28, texttype=0))
trafo_chk_ei48_8va_neutr.add(gdstk.Label('5', (-13749.02,7500.62), layer=28, texttype=0))
trafo_chk_ei48_8va_neutr.add(gdstk.Label('4', (-13749.02,2499.36), layer=28, texttype=0))
trafo_chk_ei48_8va_neutr.add(gdstk.Label('3', (-13749.02,-2499.36), layer=28, texttype=0))
trafo_chk_ei48_8va_neutr.add(gdstk.Label('2', (-13749.02,-7500.62), layer=28, texttype=0))
trafo_chk_ei48_8va_neutr.add(gdstk.Label('12', (13749.02,-12499.34), layer=28, texttype=0))
trafo_chk_ei48_8va_neutr.add(gdstk.Label('7', (13749.02,12499.34), layer=28, texttype=0))
trafo_chk_ei48_8va_neutr.add(gdstk.Label('6', (-13749.02,12550.14), layer=28, texttype=0))
trafo_chk_ei48_8va_neutr.add(gdstk.Label('1', (-13749.02,-12499.34), layer=28, texttype=0))
trafo_chk_ei48_8va_neutr.add(gdstk.Label('1', (-12999.72,-15999.46), layer=9, texttype=0))
trafo_chk_ei48_8va_neutr.add(gdstk.Label('6', (-14000.48,17000.22), layer=9, texttype=0))
trafo_chk_ei48_8va_neutr.add(gdstk.Label('7', (14000.48,15999.46), layer=9, texttype=0))
trafo_chk_ei48_8va_neutr.add(gdstk.Label('12', (14000.48,-17000.22), layer=9, texttype=0))
trafo_chk_ei48_8va_neutr.add(gdstk.Label('type', (551.18,99.06), layer=9, texttype=0))
trafo_chk_ei48_8va_neutr.add(gdstk.Label('devicename', (650.24,21198.84), layer=9, texttype=0))

lib.write_gds('Trafo_CHK-EI48-8VA_Neutral.gds')
